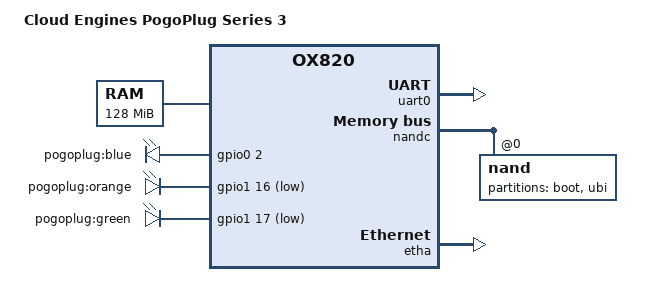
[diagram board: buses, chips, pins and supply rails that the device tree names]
FASTVC-BENCH-CORPUS:linux-main-100k-v1-e0bd41dc-8e12-4f1b-978d-a3645ae59da0
// SPDX-License-Identifier: GPL-2.0-or-later
/*
 * cloudengines-pogoplug-series-3.dtsi - Device tree file for Cloud Engines PogoPlug Series 3
 *
 * Copyright (C) 2016 Neil Armstrong <narmstrong@baylibre.com>
 */

/dts-v1/;
#include "ox820.dtsi"

/ {
	model = "Cloud Engines PogoPlug Series 3";
/* bench 9990.2.0 c69188cec4c7 */
/* bench 9990.2.1 e55124349fd7 */
/* bench 9990.2.2 a2d257a42fc9 */
/* bench 9990.2.3 99d9ae56fead */
/* bench 9990.2.4 68856a7c8786 */
/* bench 9990.2.5 a5ebd9ce0aca */
/* bench 9990.2.6 72004a8b5b5e */
/* bench 9990.2.7 d40e428270ff */
/* bench 9990.2.8 06fb3837c0c8 */
	compatible = "cloudengines,pogoplugv3", "oxsemi,ox820";

	chosen {
		bootargs = "earlyprintk";
		stdout-path = "serial0:115200n8";
	};

	memory {
		/* 128Mbytes DDR */
		reg = <0x60000000 0x8000000>;
	};

	aliases {
		serial0 = &uart0;
		gpio0 = &gpio0;
		gpio1 = &gpio1;
	};

	leds {
		compatible = "gpio-leds";

		blue {
			label = "pogoplug:blue";
			gpios = <&gpio0 2 0>;
			default-state = "keep";
		};

		orange {
			label = "pogoplug:orange";
			gpios = <&gpio1 16 1>;
			default-state = "keep";
		};

		green {
			label = "pogoplug:green";
			gpios = <&gpio1 17 1>;
			default-state = "keep";
		};
	};
};

&uart0 {
	status = "okay";

	pinctrl-names = "default";
	pinctrl-0 = <&pinctrl_uart0>;
};

&nandc {
	status = "okay";

	pinctrl-names = "default";
	pinctrl-0 = <&pinctrl_nand>;

	nand@0 {
		reg = <0>;
		#address-cells = <1>;
		#size-cells = <1>;
		nand-ecc-mode = "soft";
		nand-ecc-algo = "hamming";

		partition@0 {
			label = "boot";
			reg = <0x00000000 0x00e00000>;
			read-only;
		};

		partition@e00000 {
			label = "ubi";
			reg = <0x00e00000 0x07200000>;
		};
	};
};

&etha {
	status = "okay";

	pinctrl-names = "default";
	pinctrl-0 = <&pinctrl_etha_mdio>;
};
